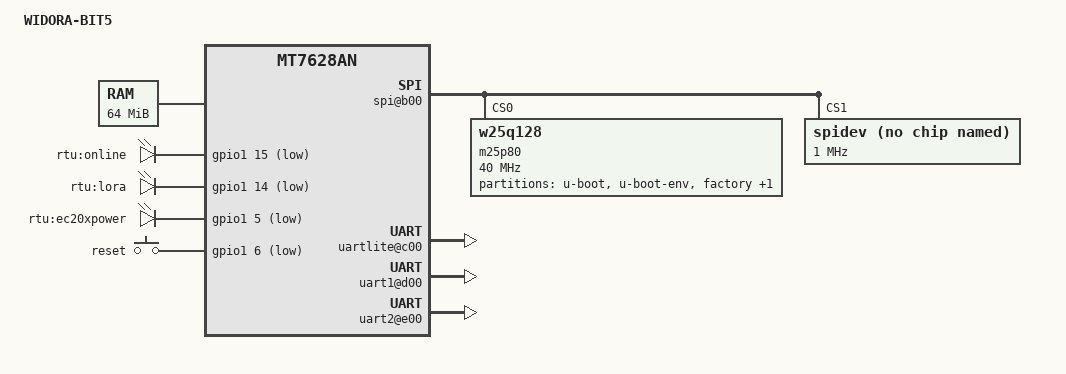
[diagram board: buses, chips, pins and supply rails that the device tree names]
/dts-v1/;

/include/ "mt7628an.dtsi"

/ {
	compatible = "widora", "mediatek,mt7628an-soc";
	model = "WIDORA-BIT5";

	chosen { // update: delete output kernel info at 2021.06.03
		bootargs = "console=none"; // ttyS0,115200
	};

	memory@0 {
		device_type = "memory";
		reg = <0x0 0x4000000>;
	};

	pinctrl {
		state_default: pinctrl0 {
			gpio {
				ralink,group = "gpio";
				ralink,function = "gpio";
			};
			perst {
				ralink,group = "perst";
				ralink,function = "gpio";
			};
			refclk {
				ralink,group = "refclk";
				ralink,function = "gpio";
			};
			i2s {
				ralink,group = "i2s";
				ralink,function = "gpio"; // default:i2s 
			};
			i2c {
				ralink,group = "i2c";
				ralink,function = "gpio"; // default:i2c
			};
			// spis { // delete: spis at 2021.05.29
			// 	ralink,group = "spis";
			// 	ralink,function = "gpio";
			// };
			wled_an {
				ralink,group = "wled_an";
				ralink,function = "wled_an";
			};
			ephy_p1 {
				ralink,group = "ephy_p1";
				ralink,function = "gpio";
			};
			ephy_p2 {	// delete: ephy2 at 2021.06.03
				ralink,group = "ephy_p2";
				ralink,function = "gpio";
			};
			ephy_p3 {
				ralink,group = "ephy_p3";
				ralink,function = "gpio";
			};
			// ephy_p4 { // delete: ephy4 at 2021.05.29
			// 	ralink,group = "ephy_p4";
			// 	ralink,function = "gpio";
			// };
			wdt {
				ralink,group = "wdt";
				ralink,function = "gpio";
			};
		};
	};

	palmbus@10000000 {
		spi@b00 {
			status = "okay";

			pinctrl-names = "default";
			pinctrl-0 = <&spi_pins>, <&spi_cs1_pins>;

			m25p80@0 {
				#address-cells = <1>;
				#size-cells = <1>;
				compatible = "w25q128";
				reg = <0 0>;
				linux,modalias = "m25p80", "w25q128";
				spi-max-frequency = <40000000>;
				m25p,chunked-io = <31>;

				partition@0 {
					label = "u-boot";
					reg = <0x0 0x30000>;
					read-only;
				};

				partition@30000 {
					label = "u-boot-env";
					reg = <0x30000 0x10000>;
				};

				factory: partition@40000 {
					label = "factory";
					reg = <0x40000 0x10000>;
				};

				partition@50000 {
					label = "firmware";
					reg = <0x50000 0x0fb0000>;
				};
			};

			spidev@1 {
				#address-cells = <1>;
				#size-cells = <1>;
				compatible = "spidev";
				reg = <1 0>;
				spi-max-frequency = <1000000>;
			};
		};

		i2c@900 {
			status = "disabled";
		};

		uartlite@c00 {
			rts-gpio = <&gpio0 11 0>;
			rs485-rts-active-high;
			rs485-rts-delay = <0 0>;
			linux,rs485-enabled-at-boot-time;
			status = "okay";
		};

		uart1@d00 { // add: uart1 for rs485 at 2021.05.29
			rts-gpio = <&gpio0 0 0>;
			rs485-rts-active-high;
			rs485-rts-delay = <0 0>;
			linux,rs485-enabled-at-boot-time;
			status = "okay";
		};

		uart2@e00 { // update: uart2 on for gps at 2021.06.03
			status = "okay";
		};

		pwm@5000 { // update: pwm off at 2021.06.03
			status = "disabled";
		};

		gpio-leds {
			compatible = "gpio-leds";
			online {
				label = "rtu:online";
				gpios = <&gpio1 15 1>;
			};
			lora {
				label = "rtu:lora";
				gpios = <&gpio1 14 1>;
			};
			ec20xpower {
				label = "rtu:ec20xpower";
				gpios = <&gpio1 5 1>;
			};
		};
	};

	ethernet@10100000 {
		mtd-mac-address = <&factory 0x28>;
	};

	sdhci@10130000 { // update: sdhci off at 2021.06.03
		status = "disabled";
		mediatek,cd-low;
	};
        gpio-keys-polled {
                compatible = "gpio-keys-polled";
                #address-cells = <1>;
                #size-cells = <0>;
                poll-interval = <20>;
                wps {
                        label = "reset";
                        gpios = <&gpio1 6 1>;
                        linux,code = <0x211>;
                };
        };

};
